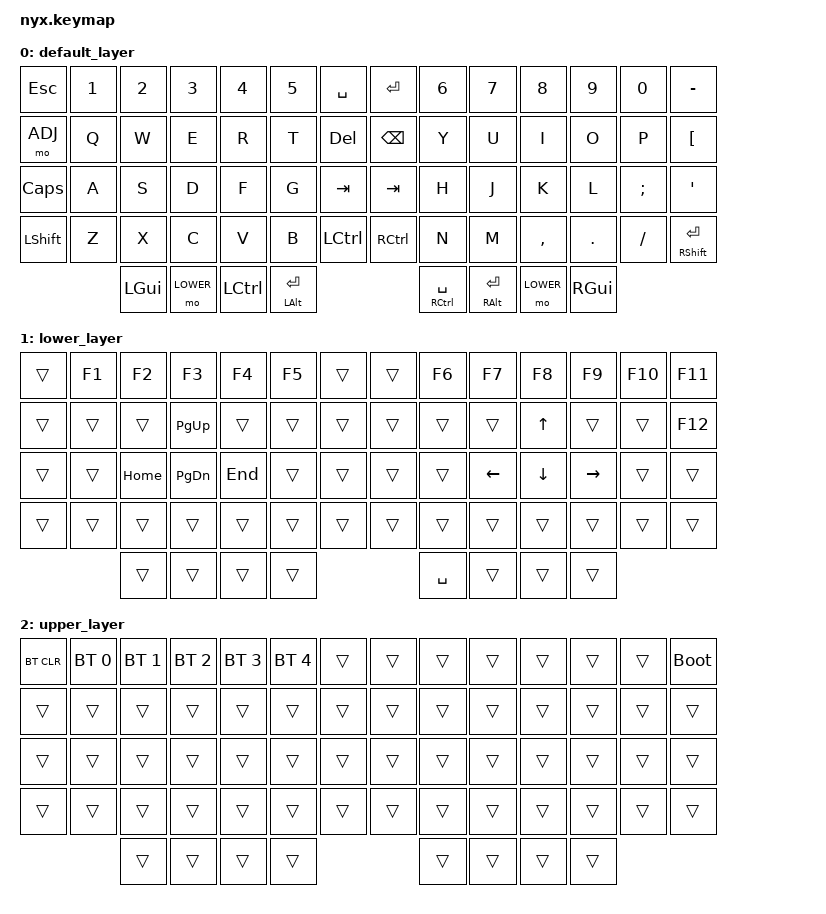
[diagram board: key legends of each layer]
/* -*- mode: dts; -*-
 *
 * Copyright (c) 2020 Tad Fisher
 *
 * SPDX-License-Identifier: MIT
 */

#include <behaviors.dtsi>
#include <dt-bindings/zmk/keys.h>
#include <dt-bindings/zmk/bt.h>
#include <dt-bindings/zmk/outputs.h>

#define DEFAULT 0
#define LOWER   1
#define ADJ   2

/ {
    behaviors {
        // This is mod-tap with the "balanced" flavor.
        // Improves the '&mt RCTRL SPACE' behavior when typing quickly.
        bmt: balanced_mod_tap {
			compatible = "zmk,behavior-hold-tap";
			label = "MOD_TAP";
			#binding-cells = <2>;
			flavor = "balanced";
			tapping-term-ms = <200>;
			bindings = <&kp>, <&kp>;
        };
    };
    keymap {
        compatible = "zmk,keymap";

		default_layer { // 0
			bindings = <
//+---------+---------+---------+---------+---------+---------+----------+   +----------+---------+---------+---------+---------+---------+---------+
//|         |         |         |         |         |         |          |   |          |         |         |         |         |         |         |
  &kp ESC   &kp N1    &kp N2    &kp N3    &kp N4    &kp N5    &kp SPC        &kp RET    &kp N6    &kp N7    &kp N8    &kp N9    &kp N0    &kp MINUS
  &mo ADJ   &kp Q     &kp W     &kp E     &kp R     &kp T     &kp DEL        &kp BSPC   &kp Y     &kp U     &kp I     &kp O     &kp P     &kp LEFT_BRACKET
  &kp CAPS  &kp A     &kp S     &kp D     &kp F     &kp G     &kp TAB        &kp TAB    &kp H     &kp J     &kp K     &kp L     &kp SEMI  &kp SQT
  &kp LSHFT &kp Z     &kp X     &kp C     &kp V     &kp B     &kp LCTRL      &kp RCTRL  &kp N     &kp M     &kp COMMA &kp DOT   &kp FSLH  &bmt RSHFT RET
                       &kp LGUI &mo LOWER &kp LCTRL &mt LALT RET             &bmt RCTRL SPACE &mt RALT RET &mo LOWER &kp RGUI


// &mt LSHFT SPC       &mt RSHFT RET
//   &kp RALT  &kp PG_DN &kp PG_UP &kp LMETA &kp RET             &bmt LMETA RET &lt NUM RET        &lt NUM SPC   &bmt LMETA SPC &kp SPC            &kp LEFT  &kp DOWN  &kp UP    &kp RIGHT

//|         |         |         |         |                   |             |             |     |             |             |                   |         |         |         |         |
//+---------+---------+---------+---------+-------------------+-------------+-------------+     +-------------+-------------+-------------------+---------+---------+---------+---------+
			>;
        };

/*
        default_layer {
            // | `       | 1    | 2    | 3      | 4       | 5       | -          | =              | 6          | 7       | 8       | 9     | 0      |         |
            // | [       | Q    | W    | E      | R       | T       | //         | \\             | Y          | U       | I       | O     | P      | ]       |
            // | (       | A    | S    | D      | F       | G       | ESC        | TAB            | H          | J       | K       | L     | ;      | )       |
            // | LSHIFT  | Z    | X    | C      | V       | B       | DEL        | BSPC           | N          | M       | ,       | .     | '      | RSHIFT  |
            // |         |      |      | LGUI   | FN      | LCTL    | LALT       | SPC            | RET        | RCTL    | RALT    |       |        |         |
            bindings = <
                &kp GRAVE &kp N1 &kp N2 &kp N3   &kp N4    &kp N5    &kp MINUS    &kp EQUAL        &kp N6       &kp N7    &kp N8    &kp N9  &kp N0   &kp MINUS
                &kp LBKT  &kp Q  &kp W  &kp E    &kp R     &kp T     &kp FSLH     &kp BSLH         &kp Y        &kp U     &kp I     &kp O   &kp P    &kp RBKT
                &kp LPAR  &kp A  &kp S  &kp D    &kp F     &kp G     &kp ESC      &kp TAB          &kp H        &kp J     &kp K     &kp L   &kp SEMI &kp RPAR
                &kp LSHFT &kp Z  &kp X  &kp C    &kp V     &kp B     &kp DEL      &kp BSPC         &kp N        &kp M     &kp COMMA &kp DOT &kp APOS &kp RSHFT
                                        &kp LGUI &mo LOWER &kp LCTRL &mt LALT RET &bmt RCTRL SPACE &mt RALT RET &mo LOWER &kp RGUI
            >;
        };
*/

        lower_layer {
            // |      | F1   | F2     | F3      | F4     | F5  |      |      | F6      | F7     | F8     | F9      | F10   | F11   |
            // |      |      |        |         |        |     |      |      |         |        |        |         |       | F12   |
            // |      |      |        |         |        |     |      |      |         |        |        |         |       |       |
            // |      |      |        |         |        |     |      |      |         |        |        |         |       |       |
            // |      |      |        |         |        |     |      |      |         |        |        |         |       |       |
            bindings = <
                &trans &kp F1 &kp F2   &kp F3    &kp F4  &kp F5 &trans &trans &kp F6    &kp F7   &kp F8   &kp F9    &kp F10 &kp F11
                &trans &trans &trans   &kp PG_UP &trans  &trans &trans &trans &trans    &trans   &kp UP   &trans    &trans  &kp F12
                &trans &trans &kp HOME &kp PG_DN &kp END &trans &trans &trans &trans    &kp LEFT &kp DOWN &kp RIGHT &trans  &trans
                &trans &trans &trans   &trans    &trans  &trans &trans &trans &trans    &trans   &trans   &trans    &trans  &trans
                                                 &trans  &trans &trans &trans &kp SPACE &trans   &trans   &trans

            >;
        };

        upper_layer {
            // | BT_CLR   | BT_SEL 0   | BT_SEL 1   | BT_SEL 2   | BT_SEL 3   | BT_SEL 4   |      |      |      |      |      |      |      |      |
            // | OUT_USB  | OUT_BLE    |            |            |            |            |      |      |      |      |      |      |      |      |
            // |          |            |            |            |            |            |      |      |      |      |      |      |      |      |
            // |          |            |            |            |            |            |      |      |      |      |      |      |      |      |
            // |          |            |            |            |            |            |      |      |      |      |      |      |      |      |
            bindings = <
                &bt BT_CLR &bt BT_SEL 0 &bt BT_SEL 1 &bt BT_SEL 2 &bt BT_SEL 3 &bt BT_SEL 4 &trans &trans &trans &trans &trans &trans &trans &bootloader 
                &trans     &trans       &trans       &trans       &trans       &trans       &trans &trans &trans &trans &trans &trans &trans &trans
                &trans     &trans       &trans       &trans       &trans       &trans       &trans &trans &trans &trans &trans &trans &trans &trans
                &trans     &trans       &trans       &trans       &trans       &trans       &trans &trans &trans &trans &trans &trans &trans &trans
                                                     &trans       &trans       &trans       &trans &trans &trans &trans &trans

            >;
        };
    };

    combos {
        compatible = "zmk,combos";
        combo_upperl {
            timeout-ms = <50>;
            key-positions = <56 57>;
            bindings = <&mo UPPER>;
        };
        combo_upperr {
            timeout-ms = <50>;
            key-positions = <62 63>;
            bindings = <&mo UPPER>;
        };
    };
};
